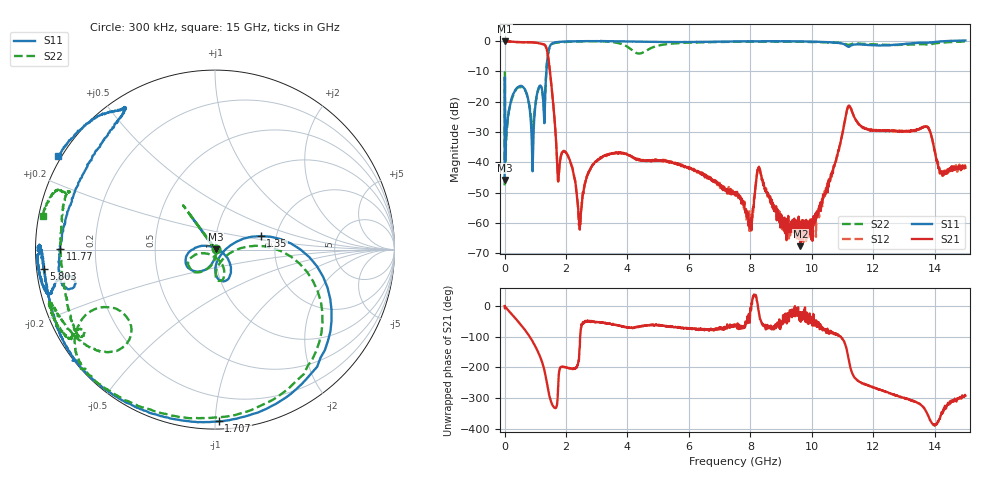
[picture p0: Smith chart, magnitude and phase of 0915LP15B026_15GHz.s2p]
!P/N: 0915LP15B026
!Agilent N5230A: A.07.50.37
!Date: Monday, July 06, 2009 12:03:36
!Correction: S11(Full 2 Port(1,2))
!S21(Full 2 Port(1,2))
!S12(Full 2 Port(1,2))
!S22(Full 2 Port(1,2))
!S2P File: Measurements: S11, S21, S12, S22:
# Hz S  dB  R 50
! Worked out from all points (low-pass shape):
!   1601 points, 300 kHz to 15 GHz, reference 50 ohm
!   highest |S21| = -0.11 dB at 300 kHz (marker M1); lowest = -67.7 dB at 9.628 GHz (marker M2)
!   |S21| within 3 dB of the highest: start of sweep to 1.38 GHz
!   lowest |S11| = -45.9 dB at 300 kHz (marker M3), VSWR 1.01, Z = 50.5 + j0.147 ohm
!   |S11| at or under -10 dB: start of sweep to 1.359 GHz
!   |S22| runs from -47.6 to 0.0 dB; largest |S21 - S12| = 0.019
!   S11 on the Smith chart (normalised r, x): 300 kHz: 1.01, +0.00; 1.35 GHz: 1.66, +0.27; 1.707 GHz: 0.04, -1.02; 5.803 GHz: 0.02, -0.06; 11.77 GHz: 0.07, +0.00; 15 GHz: -0.01, +0.28
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300000  -45.89 16.7  -0.11 -0.2  -0.14 -0.3  -47.61 44.4
3.284184e8  -16.61 -124.6  -0.31 -37.5  -0.32 -37.6  -16.80 -121.3
8.159087e8  -22.23 164.2  -0.43 -99.5  -0.46 -99.6  -21.62 -165.8
9.190316e8  -39.33 21.8  -0.47 -116.5  -0.48 -116.6  -28.14 -105.1
1.172152e9  -14.75 -75.1  -0.88 -169.2  -0.91 -169.2  -15.09 -82.5
1.350273e9  -11.50 16.4  -2.05 124.0  -2.08 124.0  -11.22 3.9
1.472146e9  -1.83 -39.1  -9.63 62.0  -9.64 62.1  -1.95 -45.1
1.706516e9  -0.38 -88.8  -39.25 38.9  -39.11 38.6  -0.56 -91.2
2.081508e9  -0.15 -116.2  -38.22 157.6  -38.28 156.6  -0.27 -115.6
2.503375e9  -0.08 -130.4  -54.48 -58.7  -54.55 -66.1  -0.14 -127.8
3.168987e9  -0.04 -142.2  -38.37 -53.3  -38.41 -52.9  -0.09 -138.5
5.00645e9  -0.33 -164.4  -39.41 -61.6  -39.52 -62.7  -1.54 -137.2
5.803309e9  -0.37 -173.5  -41.01 -70.4  -41.32 -70.2  -0.65 -151.4
7.50015e9  -0.16 178.7  -50.54 -59.8  -49.99 -63.5  -0.31 -162.1
7.98764e9  -0.12 179.5  -60.49 -30.6  -57.92 -30.2  -0.27 -161.2
8.287634e9  -0.16 -178.7  -41.96 -27.0  -42.04 -27.1  -0.25 -159.7
9.628232e9  -0.17 -169.5  -67.69 -33.2  -64.13 -43.0  -0.26 -152.4
1.000322e10  -0.23 -166.8  -58.81 -49.5  -59.55 -45.8  -0.36 -150.3
1.118445e10  -1.91 -167.7  -21.55 -165.4  -21.55 -165.3  -1.31 -148.5
1.176569e10  -1.27 179.6  -28.94 103.2  -28.80 103.8  -0.98 -153.5
1.25063e10  -1.36 146.3  -29.43 77.5  -29.57 76.7  -1.30 -171.3
1.5e10  0.16 149.2  -41.84 67.9  -41.12 64.0  -0.19 168.9
